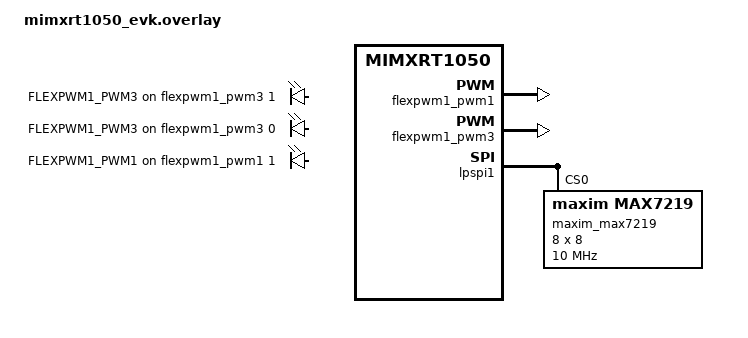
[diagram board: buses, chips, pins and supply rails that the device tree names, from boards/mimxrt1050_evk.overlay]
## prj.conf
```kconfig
CONFIG_PRINTK=y
CONFIG_SHELL=y
CONFIG_KERNEL_SHELL=y
CONFIG_THREAD_MONITOR=y
CONFIG_INIT_STACKS=y
CONFIG_THREAD_NAME=y
CONFIG_DEVICE_SHELL=y
CONFIG_BOOT_BANNER=n
CONFIG_LOG=y
#CONFIG_OBJECT_TRACING=y
CONFIG_PWM=y
CONFIG_SPI=y
CONFIG_MAX7219=y
CONFIG_DISPLAY=y
```

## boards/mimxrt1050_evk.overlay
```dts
/ {

    pwmleds {
        compatible = "pwm-leds";
        pwm_r_led: led_r {
            pwms = <&flexpwm1_pwm3 1>;
            label = "FLEXPWM1_PWM3";
        };

        pwm_g_led: led_g {
            pwms = <&flexpwm1_pwm3 0>;
            label = "FLEXPWM1_PWM3";
        };

        pwm_b_led: led_b {
            pwms = <&flexpwm1_pwm1 1>;
            label = "FLEXPWM1_PWM1";
        };
    };

 };

&flexpwm1_pwm1 {
    status = "okay";
};

&flexpwm1_pwm3 {
    status = "okay";
};

&lpspi1 {
    status = "okay";
    max7219: mymax7219@0 {
        compatible = "maxim,max7219";
        status = "okay";
        height = <8>;
        width = <8>;
        spi-max-frequency = <10000000>;
        label = "maxim_max7219";
        reg = <0>;
    };
};
```

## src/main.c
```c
#include <zephyr.h>
#include <device.h>
#include <devicetree.h>
#include <drivers/gpio.h>
#include <sys/util.h>
#include <sys/printk.h>
#include <shell/shell.h>
#include <shell/shell_uart.h>
#include <version.h>
#include <stdlib.h>
#include <fsl_iomuxc.h>
#include <drivers/pwm.h>
#include <devicetree/pwms.h>
#include <dt-bindings/spi/spi.h>
#include <drivers/spi.h>
#include <drivers/display.h>
#include <string.h>

#define DEBUG 

#if defined(DEBUG) 
	#define DPRINTK(fmt, args...) printk("DEBUG: %s():%d: " fmt, \
   		 __func__, __LINE__, ##args)
#else
 	#define DPRINTK(fmt, args...) /* do nothing if not defined*/
#endif

// using DT marcos to get pin information for leds

#define PWMLED_RED DT_NODELABEL(pwm_r_led)

#define PWMLED0_LABEL 	DT_PROP (PWMLED_RED, label)
#define LED0_CHANNEL	DT_PWMS_CHANNEL (PWMLED_RED)

#define PWMLED_GREEN DT_NODELABEL(pwm_g_led)

#define PWMLED1_LABEL 	DT_PROP (PWMLED_GREEN, label)
#define LED1_CHANNEL	DT_PWMS_CHANNEL (PWMLED_GREEN)

#define PWMLED_BLUE DT_NODELABEL(pwm_b_led)

#define PWMLED2_LABEL 	DT_PROP (PWMLED_BLUE, label)
#define LED2_CHANNEL	DT_PWMS_CHANNEL (PWMLED_BLUE)

#define MAX7219_NODE DT_NODELABEL(max7219)
#define MAX7219_LABEL DT_PROP(MAX7219_NODE, label)

/* Sleep time */
#define SLEEP_TIME	1000

bool blink_mode=false;

const struct device *pwmb1, *pwmb2, *spi2; //Pointers for device

uint16_t spi_config_data[5] = {0x0F00, 0x0900, 0x0A0F, 0x0B07, 0x0C01}; // Default data to set the SPI in normal operation mode
uint16_t clear_data[8] = {0x0100, 0x0200, 0x0300, 0x0400, 0x0500, 0x0600, 0x0700, 0x0800}; //Default data to clear the matrix

struct display_driver_api *apifunc; //api functions

//Hard coded values for the SPI pins Multiplexing

void spi_pinmux_config()
{
	IOMUXC_SetPinMux(IOMUXC_GPIO_SD_B0_01_LPSPI1_PCS0, 0);

	IOMUXC_SetPinConfig(IOMUXC_GPIO_SD_B0_01_LPSPI1_PCS0,
			    IOMUXC_SW_PAD_CTL_PAD_PUE(1) |
			    IOMUXC_SW_PAD_CTL_PAD_PKE_MASK |
			    IOMUXC_SW_PAD_CTL_PAD_SPEED(2) |
			    IOMUXC_SW_PAD_CTL_PAD_DSE(6));

	IOMUXC_SetPinMux(IOMUXC_GPIO_SD_B0_02_LPSPI1_SDO, 0);

	IOMUXC_SetPinConfig(IOMUXC_GPIO_SD_B0_02_LPSPI1_SDO,
			    IOMUXC_SW_PAD_CTL_PAD_PUE(1) |
			    IOMUXC_SW_PAD_CTL_PAD_PKE_MASK |
			    IOMUXC_SW_PAD_CTL_PAD_SPEED(2) |
			    IOMUXC_SW_PAD_CTL_PAD_DSE(6));

	IOMUXC_SetPinMux(IOMUXC_GPIO_SD_B0_00_LPSPI1_SCK, 0);

	IOMUXC_SetPinConfig(IOMUXC_GPIO_SD_B0_00_LPSPI1_SCK,
			    IOMUXC_SW_PAD_CTL_PAD_PUE(1) |
			    IOMUXC_SW_PAD_CTL_PAD_PKE_MASK |
			    IOMUXC_SW_PAD_CTL_PAD_SPEED(2) |
			    IOMUXC_SW_PAD_CTL_PAD_DSE(6));
}

//Hard coded values for the PWM Multiplexing

void pwm_pinmux_config()
{
	IOMUXC_SetPinMux(IOMUXC_GPIO_AD_B0_10_FLEXPWM1_PWMA03, 0);

	IOMUXC_SetPinConfig(IOMUXC_GPIO_AD_B0_10_FLEXPWM1_PWMA03,
			    IOMUXC_SW_PAD_CTL_PAD_PUE(1) |
			    IOMUXC_SW_PAD_CTL_PAD_PKE_MASK |
			    IOMUXC_SW_PAD_CTL_PAD_SPEED(2) |
			    IOMUXC_SW_PAD_CTL_PAD_DSE(6));

	IOMUXC_SetPinMux(IOMUXC_GPIO_AD_B0_11_FLEXPWM1_PWMB03, 0);

	IOMUXC_SetPinConfig(IOMUXC_GPIO_AD_B0_11_FLEXPWM1_PWMB03,
			    IOMUXC_SW_PAD_CTL_PAD_PUE(1) |
			    IOMUXC_SW_PAD_CTL_PAD_PKE_MASK |
			    IOMUXC_SW_PAD_CTL_PAD_SPEED(2) |
			    IOMUXC_SW_PAD_CTL_PAD_DSE(6));

	IOMUXC_SetPinMux(IOMUXC_GPIO_SD_B0_03_FLEXPWM1_PWMB01, 0);

	IOMUXC_SetPinConfig(IOMUXC_GPIO_SD_B0_03_FLEXPWM1_PWMB01,
			    IOMUXC_SW_PAD_CTL_PAD_PUE(1) |
			    IOMUXC_SW_PAD_CTL_PAD_PKE_MASK |
			    IOMUXC_SW_PAD_CTL_PAD_SPEED(2) |
			    IOMUXC_SW_PAD_CTL_PAD_DSE(6));
}


//Function for device bindings

void all_device_bindings()
{
	pwmb1 = device_get_binding(PWMLED0_LABEL);
	if (!pwmb1) {
		DPRINTK("error\n");
		return;
	}

	pwmb2 = device_get_binding(PWMLED2_LABEL);
	if (!pwmb2) {
		DPRINTK("error\n");
		return;
	}

	spi2 = device_get_binding(MAX7219_LABEL);
	if(!spi2) {
		DPRINTK("error SPI2\n");
		return;
	}
	
}

void configure_spi()
{
	const struct display_driver_api *api = (struct display_driver_api*)spi2->api;
	api->write(spi2, 0, 5, NULL, (void *)spi_config_data);
}

void clear_matrix()
{
	const struct display_driver_api *api = (struct display_driver_api*)spi2->api;
	api->write(spi2, 0, 5, NULL, (void *)clear_data);
}

// Defining all the shell root and sub commands

static int cmd_rgb(const struct shell *shell, size_t argc, char **argv)  // PWM sub command implementation
{
	int pwm_duty_cycle[3]; //Array for storing the duty cycles
	int tmp = 1; 

	//Converting the string format of duty cycle to integer format
	for (int i = 0; i < argc-1; i++)
	{
		pwm_duty_cycle[i] = atoi(argv[tmp]); 
		tmp++; 
	}

	k_msleep(SLEEP_TIME);
	pwm_pin_set_cycles(pwmb1, LED0_CHANNEL, 100, pwm_duty_cycle[0], PWM_POLARITY_NORMAL); //Turning on red led
	k_msleep(SLEEP_TIME);

	pwm_pin_set_cycles(pwmb1, LED1_CHANNEL, 100, pwm_duty_cycle[1], PWM_POLARITY_NORMAL); //Turning on green led
	k_msleep(SLEEP_TIME);

	pwm_pin_set_cycles(pwmb2, LED2_CHANNEL, 100, pwm_duty_cycle[2], PWM_POLARITY_NORMAL); //Turning on blue led 
	k_msleep(SLEEP_TIME);

    return 0;
}

static int cmd_ledm(const struct shell *shell, size_t argc, char **argv) // LED matrix turn on command implementation
{
	const struct display_driver_api *api = (struct display_driver_api*)spi2->api; // Declaring the local API functions
	api->write(spi2, 0, 8, NULL, (void *)clear_data);  //Clearing the LED matrix from the previous values

	uint16_t address[8];  
	uint16_t data[8];
	int j = 2; 
	int x; 
	int y = argc-2; //Number of rows passing as an argument to the write command 

	int row = strtol(argv[1], NULL, 16);  //converting the row value given in the command from char to int 
	int addr = 0xF0; 

	//converting the arguments from strings to hexadecimal values
	for (int i = 0; i < argc-2; i++)
	{
		address[i] = (int)strtol(argv[j], NULL, 16);
		j++; 
	}
	x = row;
	row++;
	//converting the values to proper data address format 
	for (int i = 0; i < argc-2; i++)
	{
		addr = (addr | row)*256;
		data[i] = addr | address[i];
		j++; 
		row++;
		addr = 0xF0;
	}
	
	api->write(spi2, x, y, NULL, (void *)data); //calling the write api function
	
	return 0;
}

static int cmd_ledb(const struct shell *shell, size_t argc, char **argv) // LED matrix blinking on and off command implementation
{
	const struct display_driver_api *api = (struct display_driver_api*)spi2->api; // Declaring the local API functions
	int a = atoi(argv[1]); //converting values from char to integer

	if (a == 1)
	{
		blink_mode = true;    //the flag is used to set the blink mode to be used in main function 
	}
	else
	{
		blink_mode = false;
		api->blanking_off(spi2);     //calling the blanking off function 
	}

	return 0;
}

//shell commands register

SHELL_STATIC_SUBCMD_SET_CREATE(
	sub_rgb, 
	SHELL_CMD(rgb, NULL, "PWM Led Intensity command.", cmd_rgb),          //rgb sub command
	SHELL_CMD(ledm, NULL, "Turning on LED matrix command.", cmd_ledm),    //ledm sub command
	SHELL_CMD(ledb, NULL, "Blinking the pattern on Matrix", cmd_ledb),    //ledb sub command
	SHELL_SUBCMD_SET_END);

SHELL_CMD_REGISTER(p2, &sub_rgb, "List of commands", NULL);               //p2 root command


//Main function

void main(void)
{
	spi_pinmux_config();          //configuring the gpio pins as spi pins
	pwm_pinmux_config();		  //configuring the gpio pins as pwm pins	
	all_device_bindings();		  //getting device bindings
	configure_spi();			  //configuring the spi for normal mode
	clear_matrix();				  //clearing the led matrix before writing

	const struct display_driver_api *apifunc = (struct display_driver_api*)spi2->api;

	bool local = true;           //implementing the continuously blinking
	while(true)
	{
		if(blink_mode)
		{
			if(local)
			{
				apifunc->blanking_off(spi2);
				local = false;
			}
			else
			{
				apifunc->blanking_on(spi2);
				local = true;
			}
		}
		k_msleep(SLEEP_TIME);
	}
}
```
